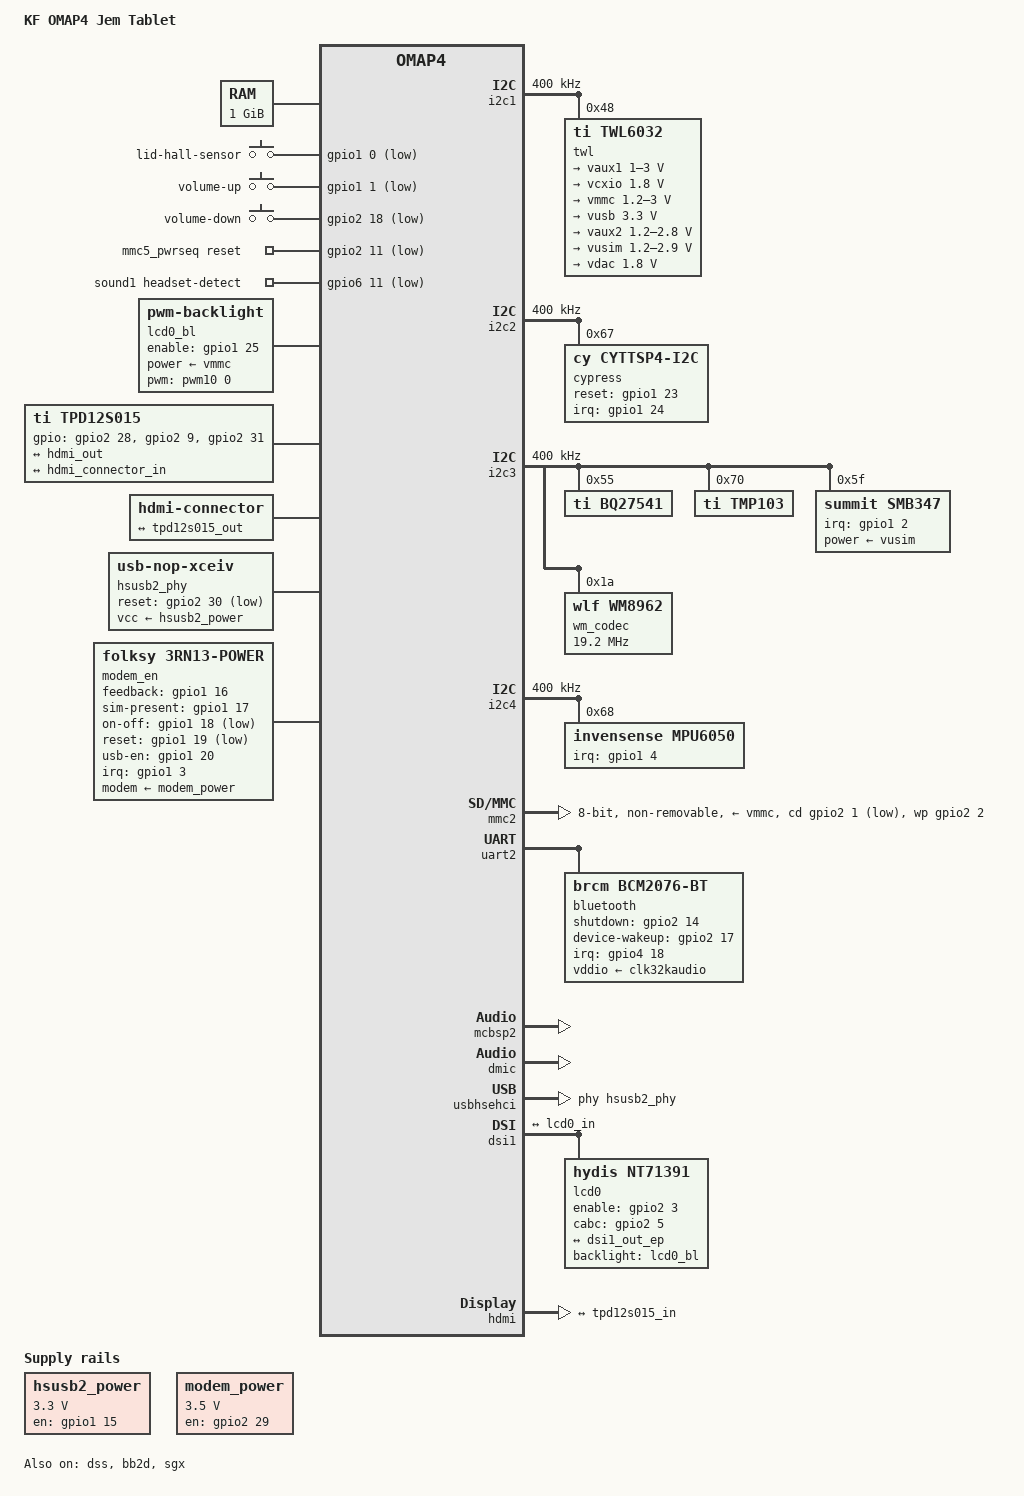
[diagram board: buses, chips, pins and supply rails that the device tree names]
/*
 * Author: Mykola Dolhyi <0xb000@gmail.com>
 *
 * This program is free software; you can redistribute it and/or modify
 * it under the terms of the GNU General Public License version 2 as
 * published by the Free Software Foundation.
 */
/dts-v1/;

#include <dt-bindings/input/input.h>
#include <dt-bindings/input/gpio-keys.h>
#include "omap4470.dtsi"
#include "elpida_ecb240abacn.dtsi"

/ {
	model = "KF OMAP4 Jem Tablet";
	compatible = "amazon,jem", "ti,omap4460", "ti,omap4";

	memory@80000000 {
		device_type = "memory";
		reg = <0x80000000 0x40000000>; /* 1 GB */
	};

	reserved-memory {
		#address-cells = <1>;
		#size-cells = <1>;
		ranges;

		dsp_cma_pool: dsp_cma@98000000 {
			compatible = "shared-dma-pool";
			reg = <0x98000000 0x800000>;
			reusable;
			status = "okay";
		};

		ipu_cma_pool: ipu_cma@98800000 {
			compatible = "shared-dma-pool";
			reg = <0x98800000 0x7000000>;
			reusable;
			status = "okay";
		};
	};

	gpio_keys {
		compatible = "gpio-keys";

		pinctrl-names = "default";
		pinctrl-0 = <
				&lid_key_pins
				&vol_up_key_pins
				&vol_down_key_pins
		>;

		case_lid {
			label = "lid-hall-sensor";
			linux,can-disable;
			linux,input-type = <EV_SW>;
			linux,code = <SW_LID>;
			debounce-interval = <10>;
			gpios = <&gpio1 0 GPIO_ACTIVE_LOW>;
			wakeup-source;
			wakeup-event-action = <EV_ACT_DEASSERTED>;
		};

		volume_up {
			label = "volume-up";
			linux,can-disable;
			linux,code = <KEY_VOLUMEUP>;
			gpios = <&gpio1 1 GPIO_ACTIVE_LOW>;
			wakeup-source;
		};

		volume_down {
			label = "volume-down";
			linux,can-disable;
			linux,code = <KEY_VOLUMEDOWN>;
			gpios = <&gpio2 18 GPIO_ACTIVE_LOW>;
			wakeup-source;
		};
	};

	rfkill_wifi {
		status = "disabled";
		compatible = "rfkill-gpio";
		rfkill-name = "bcm43239";
		rfkill-type = "wlan";
		shutdown-gpios = <&gpio2 11 GPIO_ACTIVE_HIGH>;	/* wlan_en */
	};

	mmc5_pwrseq: wifi_pwrseq {
		compatible = "mmc-pwrseq-simple";

		pinctrl-names = "default";
		pinctrl-0 = <&brcmfmac_vmmc_pins>;

		reset-gpios = <&gpio2 11 GPIO_ACTIVE_LOW>;
	};

	sound1 {
		status = "okay";

		compatible = "ti,jem-audio";
		model = "wm8962-audio";
		ssi-controller = <&mcbsp2>;
		audio-codec = <&wm_codec>;
		audio-routing =	"Headphone", "HPOUTL",
				"Headphone", "HPOUTR",
				"Main Speaker", "SPKOUTL",
				"Main Speaker", "SPKOUTR";

		headset-detect-gpios = <&gpio6 11 GPIO_ACTIVE_LOW>;
	};

	/* backlight PWM */
	pwm10: dmtimer-pwm@10 {
		status = "okay";
		compatible = "ti,omap-dmtimer-pwm";
		ti,timers = <&timer10>;
		ti,prescaler = <0>; /* use ti,clock-source in newer kernels */
		// ti,clock-source = <0x01>;
		#pwm-cells = <3>;
	};

	lcd0_bl: backlight {
		status = "okay";
		compatible = "pwm-backlight";
		pwms = <&pwm10 0 5000000 0>;
		brightness-levels = <0 2 4 6 8 12 16 24 32 48 64 96 128 192 255>;
		default-brightness-level = <6>;

		power-supply = <&vmmc>;
		enable-gpios = <&gpio1 25 GPIO_ACTIVE_HIGH>;
	};

	aliases {
		display0 = &lcd0;
		display1 = &hdmi0;
	};

	tpd12s015: encoder {
		compatible = "ti,tpd12s015";

		pinctrl-names = "default";
		pinctrl-0 = <&tpd12s015_pins>;

		gpios = <&gpio2 28 GPIO_ACTIVE_HIGH>,	/* 60, CT CP HPD */
			<&gpio2 9 GPIO_ACTIVE_HIGH>,	/* 41, LS OE */
			<&gpio2 31 GPIO_ACTIVE_HIGH>;	/* 63, HPD */

		ports {
			#address-cells = <1>;
			#size-cells = <0>;

			port@0 {
				reg = <0>;

				tpd12s015_in: endpoint {
					remote-endpoint = <&hdmi_out>;
				};
			};

			port@1 {
				reg = <1>;

				tpd12s015_out: endpoint {
					remote-endpoint = <&hdmi_connector_in>;
				};
			};
		};
	};

	hdmi0: connector {
		compatible = "hdmi-connector";
		label = "hdmi";

		type = "d";

		port {
			hdmi_connector_in: endpoint {
				remote-endpoint = <&tpd12s015_out>;
			};
		};
	};

	hsusb2_power: hsusb2_power_reg {
		compatible = "regulator-fixed";
		regulator-name = "hsusb2_vbus";
		regulator-min-microvolt = <3300000>;
		regulator-max-microvolt = <3300000>;
		gpio = <&gpio1 15 GPIO_ACTIVE_LOW>;	/* usb_resume gpio_15 */
		startup-delay-us = <70000>;
		enable-active-high;

		regulator-always-on;
		regulator-boot-on;
	};

	hsusb2_phy: usb-phy@2 {
		compatible = "usb-nop-xceiv";
		reset-gpios = <&gpio2 30 GPIO_ACTIVE_LOW>;   /* gpio_62 */
		#phy-cells = <0>;
		vcc-supply = <&hsusb2_power>;
		clocks = <&auxclk3_ck>;
		clock-names = "main_clk";
		clock-frequency = <19200000>;
	};


	modem_power: modem_power_reg {
		compatible = "regulator-fixed";
		regulator-name = "modem_vbat_power";
		regulator-min-microvolt = <3500000>;
		regulator-max-microvolt = <3500000>;
		gpios = <&gpio2 29 GPIO_ACTIVE_HIGH>;    /* wan_bost_en gpio_61 */
		startup-delay-us = <10000>;
		enable-active-high;
	};

	modem_en: modem {
		compatible = "folksy,3rn13-power";
		pinctrl-names = "default";
		pinctrl-0 = <&modem_pins>;

		feedback-gpios		= <&gpio1 16 GPIO_ACTIVE_HIGH>;
		sim-present-gpios	= <&gpio1 17 GPIO_ACTIVE_HIGH>;
		on-off-gpios		= <&gpio1 18 GPIO_ACTIVE_LOW>;
		reset-gpios		= <&gpio1 19 GPIO_ACTIVE_LOW>;
		usb-en-gpios		= <&gpio1 20 GPIO_ACTIVE_HIGH>;

		// interrupts...
		// host-wake-gpio = <&gpio1 3 GPIO_ACTIVE_HIGH>;
		interrupts = <3 IRQ_TYPE_EDGE_RISING>;	/* gpio_3 trigger_rising */
		interrupt-parent = <&gpio1>;

		modem-supply = <&modem_power>;
		/* VBUS supply should probably be controlled through the USB PHY driver for the modem port */
		usb-port = <&hsusb2_phy>;       /* USB phy where we can check the modem status */
		// vbus-supply = <&modem_vbus_hdmi_power>;

		can-turnoff;
	};
};

&omap4_pmx_wkup {
	pinctrl-names = "default";
	pinctrl-0 = <
		&fref_clk_pins
	>;

	twl6030_wkup_pins: pinmux_twl6030_wkup_pins {
		pinctrl-single,pins = <
			OMAP4_IOPAD(0x56, PIN_OUTPUT_PULLUP | MUX_MODE2)	/* fref_clk3_req.sys_drm_msecure */
		>;
	};

	lid_key_pins: pinmux_bu52061_pins {
		pinctrl-single,pins = <
			OMAP4_IOPAD(0x40, WAKEUP_EN | PIN_INPUT | MUX_MODE3)	/* gpmc_wk0.gpio_wk0 */
		>;
	};

	vol_up_key_pins: pinmux_vol_up_pins {
		pinctrl-single,pins = <
			OMAP4_IOPAD(0x42, WAKEUP_EN | PIN_INPUT_PULLUP | MUX_MODE3)	/* gpmc_wk1.gpio_wk1 */
		>;
	};

	mpu6050_pins: pinmux_mpu6050_pins {
		pinctrl-single,pins = <
			OMAP4_IOPAD(0x48, PIN_INPUT | MUX_MODE3)	/* gpio_wk4.gpio_wk4 */
		>;
	};

	fref_clk_pins: pinmux_fref_clk_pins {
		pinctrl-single,pins = <
			OMAP4_IOPAD(0x54, PIN_OUTPUT | MUX_MODE0)	/* fref_clk0_out.fref_clk0_out */ // Unknown
			OMAP4_IOPAD(0x58, PIN_OUTPUT | MUX_MODE0)	/* fref_clk3_out.fref_clk3_out */ // USB PHY clock
		>;
	};
};

&omap4_pmx_core {
	pinctrl-names = "default";
	pinctrl-0 = <
		&dmic_pins
		&dss_hdmi_pins
		/* &tpd12s015_pins */
		&backlight_pins
		&nt71391_pins
	>;

	vol_down_key_pins: pinmux_vol_down_pins {
		pinctrl-single,pins = <
			OMAP4_IOPAD(0x74, WAKEUP_EN | PIN_INPUT_PULLUP | MUX_MODE3)	/* gpmc_ncs0.gpio_50 */
		>;
	};

	backlight_pins: pinmux_backlight_pins {
		pinctrl-single,pins = <
			OMAP4_IOPAD(0x1d0, PIN_OUTPUT | MUX_MODE1)	/* dpm_emu18.dmtimer10_pwm_evt */
			OMAP4_IOPAD(0x1ca, PIN_OUTPUT | MUX_MODE3)	/* dpm_emu14.gpio_25 */
		>;
	};

	nt71391_pins: pinmux_nt71391_pins {
		pinctrl-single,pins = <
			OMAP4_IOPAD(0x54, PIN_OUTPUT | MUX_MODE3)	/* gpmc_ad11.gpio_35 */
			OMAP4_IOPAD(0x5a, PIN_OUTPUT | MUX_MODE3)	/* gpmc_ad13.gpio_37 */
		>;
	};

	smb347_pins: pinmux_smb347_pins {
		pinctrl-single,pins = <
			OMAP4_IOPAD(0x190, PIN_INPUT | MUX_MODE3)	/* kpd_row1.gpio_2 */
		>;
	};

	cyttsp4_pins: pinmux_cyttsp4_pins {
		pinctrl-single,pins = <
			OMAP4_IOPAD(0x1c6, PIN_OUTPUT | MUX_MODE3)	/* dpm_emu12.gpio_23 */
			OMAP4_IOPAD(0x1c8, PIN_INPUT_PULLUP | MUX_MODE3)/* dpm_emu13.gpio_24 */
		>;
	};

	uart2_pins: pinmux_uart2_pins {
		pinctrl-single,pins = <
			OMAP4_IOPAD(0x118, PIN_INPUT_PULLUP | MUX_MODE0)	/* uart2_cts.uart2_cts */
			OMAP4_IOPAD(0x11a, PIN_OUTPUT | MUX_MODE0)		/* uart2_rts.uart2_rts */
			OMAP4_IOPAD(0x11c, PIN_INPUT_PULLUP | MUX_MODE0)	/* uart2_rx.uart2_rx */
			OMAP4_IOPAD(0x11e, PIN_OUTPUT | MUX_MODE0)		/* uart2_tx.uart2_tx */
		>;
	};

	uart3_pins: pinmux_uart3_pins {
		pinctrl-single,pins = <
			OMAP4_IOPAD(0x140, PIN_INPUT_PULLUP | MUX_MODE0)	/* uart3_cts_rctx.uart3_cts_rctx */
			OMAP4_IOPAD(0x142, PIN_OUTPUT | MUX_MODE0)		/* uart3_rts_sd.uart3_rts_sd */
			OMAP4_IOPAD(0x144, PIN_INPUT | MUX_MODE0)		/* uart3_rx_irrx.uart3_rx_irrx */
			OMAP4_IOPAD(0x146, PIN_OUTPUT | MUX_MODE0)		/* uart3_tx_irtx.uart3_tx_irtx */
		>;
	};

	uart4_pins: pinmux_uart4_pins {
		pinctrl-single,pins = <
			OMAP4_IOPAD(0x15c, PIN_INPUT | MUX_MODE0)		/* uart4_rx.uart4_rx */
			OMAP4_IOPAD(0x15e, PIN_OUTPUT | MUX_MODE0)		/* uart4_tx.uart4_tx */
		>;
	};

	twl6030_pins: pinmux_twl6030_pins {
		pinctrl-single,pins = <
			OMAP4_IOPAD(0x19e, WAKEUP_EN | PIN_INPUT_PULLUP | MUX_MODE0)	/* sys_nirq1.sys_nirq1 */
		>;
	};

	dmic_pins: pinmux_dmic_pins {
		pinctrl-single,pins = <
			0xd0 (PIN_OUTPUT | MUX_MODE0)		/* abe_dmic_clk1.abe_dmic_clk1 */
			0xd2 (PIN_INPUT | MUX_MODE0)		/* abe_dmic_din1.abe_dmic_din1 */
			0xd4 (PIN_INPUT | MUX_MODE0)		/* abe_dmic_din2.abe_dmic_din2 */
			0xd6 (PIN_INPUT | MUX_MODE0)		/* abe_dmic_din3.abe_dmic_din3 */
		>;
	};

	mcbsp2_pins: pinmux_mcbsp2_pins {
		pinctrl-single,pins = <
			OMAP4_IOPAD(0xf6, PIN_INPUT | MUX_MODE0)	/* abe_mcbsp2_clkx.abe_mcbsp2_clkx */
			OMAP4_IOPAD(0xf8, PIN_INPUT | MUX_MODE0)	/* abe_mcbsp2_dr.abe_mcbsp2_dr */
			OMAP4_IOPAD(0xfa, PIN_OUTPUT | MUX_MODE0)	/* abe_mcbsp2_dx.abe_mcbsp2_dx */
			OMAP4_IOPAD(0xfc, PIN_INPUT | MUX_MODE0)	/* abe_mcbsp2_fsx.abe_mcbsp2_fsx */
		>;
	};

	mmc2_pins_default: pinmux_mmc2_pins_default {
		pinctrl-single,pins = <
			OMAP4_IOPAD(0x82, PIN_INPUT_PULLUP | MUX_MODE1)	/* gpmc_noe.sdmmc2_clk */
			OMAP4_IOPAD(0x84, PIN_INPUT_PULLUP | MUX_MODE1)	/* gpmc_nwe.sdmmc2_cmd */
			OMAP4_IOPAD(0x40, PIN_INPUT_PULLUP | MUX_MODE1)	/* gpmc_ad0.sdmmc2_dat0 */
			OMAP4_IOPAD(0x42, PIN_INPUT_PULLUP | MUX_MODE1)	/* gpmc_ad1.sdmmc2_dat1 */
			OMAP4_IOPAD(0x44, PIN_INPUT_PULLUP | MUX_MODE1)	/* gpmc_ad2.sdmmc2_dat2 */
			OMAP4_IOPAD(0x46, PIN_INPUT_PULLUP | MUX_MODE1)	/* gpmc_ad3.sdmmc2_dat3 */
			OMAP4_IOPAD(0x48, PIN_INPUT_PULLUP | MUX_MODE1)	/* gpmc_ad4.sdmmc2_dat4 */
			OMAP4_IOPAD(0x4a, PIN_INPUT_PULLUP | MUX_MODE1)	/* gpmc_ad5.sdmmc2_dat5 */
			OMAP4_IOPAD(0x4c, PIN_INPUT_PULLUP | MUX_MODE1)	/* gpmc_ad6.sdmmc2_dat6 */
			OMAP4_IOPAD(0x4e, PIN_INPUT_PULLUP | MUX_MODE1)	/* gpmc_ad7.sdmmc2_dat7 */
			OMAP4_IOPAD(0x4c, PIN_INPUT_PULLUP | MUX_MODE1)	/* gpmc_ad6.sdmmc2_dat6 */
			OMAP4_IOPAD(0x4e, PIN_INPUT_PULLUP | MUX_MODE1)	/* gpmc_ad7.sdmmc2_dat7 */
		>;
	};

	dss_hdmi_pins: pinmux_dss_hdmi_pins {
		pinctrl-single,pins = <
			OMAP4_IOPAD(0x9a, PIN_INPUT | MUX_MODE0)	/* hdmi_cec.hdmi_cec */
			OMAP4_IOPAD(0x9c, PIN_INPUT_PULLUP | MUX_MODE0)	/* hdmi_scl.hdmi_scl */
			OMAP4_IOPAD(0x9e, PIN_INPUT_PULLUP | MUX_MODE0)	/* hdmi_sda.hdmi_sda */
			OMAP4_IOPAD(0x8e, PIN_INPUT_PULLDOWN | MUX_MODE3) /* gpmc_wait2.gpio_100 WTF??? */
		>;
	};

	tpd12s015_pins: pinmux_tpd12s015_pins {
		/* LS_OE, CT_CP_HPD - high to enable dcdc */
		pinctrl-single,pins = <
			OMAP4_IOPAD(0x62, PIN_OUTPUT | MUX_MODE3)		/* gpmc_a17.gpio_41 */
			OMAP4_IOPAD(0x88, PIN_OUTPUT | MUX_MODE3)		/* gpmc_nbe1.gpio_60 */
			OMAP4_IOPAD(0x98, PIN_INPUT_PULLDOWN | MUX_MODE3)	/* hdmi_hpd.gpio_63 */
		>;
	};

	i2c1_pins: pinmux_i2c1_pins {
		pinctrl-single,pins = <
			OMAP4_IOPAD(0x122, PIN_INPUT_PULLUP | MUX_MODE0)	/* i2c1_scl */
			OMAP4_IOPAD(0x124, PIN_INPUT_PULLUP | MUX_MODE0)	/* i2c1_sda */
		>;
	};

	i2c2_pins: pinmux_i2c2_pins {
		pinctrl-single,pins = <
			OMAP4_IOPAD(0x126, PIN_INPUT_PULLUP | MUX_MODE0)	/* i2c2_scl */
			OMAP4_IOPAD(0x128, PIN_INPUT_PULLUP | MUX_MODE0)	/* i2c2_sda */
		>;
	};

	i2c3_pins: pinmux_i2c3_pins {
		pinctrl-single,pins = <
			OMAP4_IOPAD(0x12a, PIN_INPUT_PULLUP | MUX_MODE0)	/* i2c3_scl */
			OMAP4_IOPAD(0x12c, PIN_INPUT_PULLUP | MUX_MODE0)	/* i2c3_sda */
		>;
	};

	i2c4_pins: pinmux_i2c4_pins {
		pinctrl-single,pins = <
			OMAP4_IOPAD(0x12e, PIN_INPUT_PULLUP | MUX_MODE0)	/* i2c4_scl */
			OMAP4_IOPAD(0x130, PIN_INPUT_PULLUP | MUX_MODE0)	/* i2c4_sda */
		>;
	};

	bt_pins: pinmux_bt_pins {
		/* RST_N, EN(REG), WAKE, HOST_WAKE */
		pinctrl-single,pins = <
			OMAP4_IOPAD(0x7a, PIN_OUTPUT_PULLUP | MUX_MODE3)	/* gpmc_ncs3.gpio_53 */
			OMAP4_IOPAD(0x6c, PIN_OUTPUT_PULLDOWN | MUX_MODE3)	/* gpmc_a22.gpio_46 */
			OMAP4_IOPAD(0x72, PIN_OUTPUT_PULLDOWN | MUX_MODE3)	/* gpmc_a25.gpio_49 */
			OMAP4_IOPAD(0xbe, PIN_INPUT | MUX_MODE3)		/* cam_strobe.gpio_82 */
		>;
	};

	/* GPIO output for WLAN_EN */
	brcmfmac_vmmc_pins: pinmux_brcmfmac_vmmc_pins {
		pinctrl-single,pins = <
			OMAP4_IOPAD(0x66, PIN_OUTPUT | MUX_MODE3)		/* gpmc_a19.gpio_43 */
		>;
	};

	/* brcm GPIO inputs and SDIO pins */
	brcmfmac_pins: pinmux_brcmfmac_pins {
		pinctrl-single,pins = <
			OMAP4_IOPAD(0x148, PIN_INPUT_PULLUP | MUX_MODE0)	/* sdmmc5_clk.sdmmc5_clk */
			OMAP4_IOPAD(0x14a, PIN_INPUT_PULLUP | MUX_MODE0)	/* sdmmc5_cmd.sdmmc5_cmd */
			OMAP4_IOPAD(0x14c, PIN_INPUT_PULLUP | MUX_MODE0)	/* sdmmc5_dat0.sdmmc5_dat0 */
			OMAP4_IOPAD(0x14e, PIN_INPUT_PULLUP | MUX_MODE0)	/* sdmmc5_dat1.sdmmc5_dat1 */
			OMAP4_IOPAD(0x150, PIN_INPUT_PULLUP | MUX_MODE0)	/* sdmmc5_dat2.sdmmc5_dat2 */
			OMAP4_IOPAD(0x152, PIN_INPUT_PULLUP | MUX_MODE0)	/* sdmmc5_dat3.sdmmc5_dat3 */
		>;
	};

	usb_otg_hs_pins: pinmux_usb_otg_hs_pins {
		pinctrl-single,pins = <
			OMAP4_IOPAD(0x194, PIN_OUTPUT_PULLDOWN | MUX_MODE0)	/* usba0_otg_ce */
			OMAP4_IOPAD(0x196, PIN_INPUT | MUX_MODE0)		/* usba0_otg_dp */
			OMAP4_IOPAD(0x198, PIN_INPUT | MUX_MODE0)		/* usba0_otg_dm */
		>;
	};

	wm8962_pins: pinmux_wm8962_pins {
		/* IRQ, HP_DETECT, MCLK */
		pinctrl-single,pins = <
			OMAP4_IOPAD(0x1cc, PIN_INPUT_PULLDOWN | MUX_MODE3)	/* dpm_emu15.gpio_26 */
			OMAP4_IOPAD(0x17c, PIN_INPUT_PULLUP | MUX_MODE3)	/* kpd_col4.gpio_171 */
			// OMAP4_IOPAD(0x1a0, PIN_INPUT_PULLUP | MUX_MODE0)	/* sys_nirq2.sys_nirq2 probably only used for twl6040... to wake cpu up */

			/* codec mclk - auxclk0_ck out */
			OMAP4_IOPAD(0x19a, PIN_OUTPUT | MUX_MODE0)		/* fref_clk1_out.fref_clk1_out */
		>;
	};

	modem_pins: pinmux_modem_pins {
		pinctrl-single,pins = <
			OMAP4_IOPAD(0x192, PIN_INPUT_PULLDOWN | MUX_MODE3)	/* kpd_row2.gpio_3 host_wake */
			OMAP4_IOPAD(0x1b6, PIN_OUTPUT_PULLDOWN | MUX_MODE3)	/* dpm_emu4.gpio_15 usb_resume/host_hmi phy? */
			OMAP4_IOPAD(0x1b8, PIN_INPUT_PULLDOWN | MUX_MODE3)	/* dpm_emu5.gpio_16 fw_ready */
			OMAP4_IOPAD(0x1ba, PIN_INPUT | MUX_MODE3)		/* dpm_emu6.gpio_17 sim_present */
			OMAP4_IOPAD(0x1bc, PIN_OUTPUT | MUX_MODE3)		/* dpm_emu7.gpio_18 wan_on_off */
			OMAP4_IOPAD(0x1be, PIN_OUTPUT_PULLUP | MUX_MODE3)	/* dpm_emu8.gpio_19 resetin_n */
			OMAP4_IOPAD(0x1c0, PIN_OUTPUT_PULLDOWN | MUX_MODE3)	/* dpm_emu9.gpio_20 usb_enable */

			OMAP4_IOPAD(0x8a, PIN_OUTPUT_PULLDOWN | MUX_MODE3)	/* gpmc_wait0.gpio_61 boost_en */
			OMAP4_IOPAD(0x8c, PIN_OUTPUT_PULLUP | MUX_MODE3)	/* gpmc_wait1.gpio_62 usb_phy_nreset */
		>;
	};
};

&i2c1 {
	// We need i2c1 muxed early on the boot process for pmic
	// bootloader already done it for us
	// pinctrl-names = "default";
	// pinctrl-0 = <&i2c1_pins>;

	clock-frequency = <400000>;

	twl: twl@48 {
		reg = <0x48>;

		pinctrl-names = "default";
		pinctrl-0 = <
			&twl6030_pins
			&twl6030_wkup_pins
		>;

		/* SPI = 0, IRQ# = 7, 4 = active high level-sensitive */
		interrupts = <GIC_SPI 7 IRQ_TYPE_LEVEL_HIGH>; /* IRQ_SYS_1N cascaded to gic */
		interrupt-parent = <&gic>;
	};
};

#include "twl6030.dtsi"

&twl {
	compatible = "ti,twl6032";

	twl_pwrbutton: pwrbutton {
		compatible = "ti,twl6030-pwrbutton";
		interrupts = <0>;
	};

	/* wifi */
	vaux1: regulator-vaux1 {
		compatible = "ti,twl6032-ldo2";
		regulator-min-microvolt = <1000000>;
		regulator-max-microvolt = <3000000>;
		// regulator-always-on;
	};

	/* DSS, DSI what? panel? controller? */
	vcxio: regulator-vcxio {
		compatible = "ti,twl6032-ldo6";
		regulator-min-microvolt = <1800000>;
		regulator-max-microvolt = <1800000>;
	};

	/* mmc and backlight? and wifi?*/
	vmmc: regulator-vmmc {
		compatible = "ti,twl6032-ldo5";
		regulator-min-microvolt = <1200000>;
		regulator-max-microvolt = <3000000>;
	};

	/* ???? Supposed to be for OTG, seems to be not used */
	vusb: regulator-vusb {
		compatible = "ti,twl6032-ldousb";
		regulator-min-microvolt = <3300000>;
		regulator-max-microvolt = <3300000>;
		// regulator-always-on;

		status = "disabled";
	};

	/* presumably wm8962 */
	vaux2: regulator-vaux2 {
		compatible = "ti,twl6032-ldo4";
		regulator-min-microvolt = <1200000>;
		regulator-max-microvolt = <2800000>;
		// regulator-always-on;
	};

	/* smb347 */
	vusim: regulator-vusim {
		compatible = "ti,twl6032-ldo7";
		regulator-min-microvolt = <1200000>;
		regulator-max-microvolt = <2900000>;
	};

	/* ???? */
	clk32kg: regulator-clk32kg {
		compatible = "ti,twl6030-clk32kg";
		regulator-always-on;
	};

	/* Bluetooth clock */
	clk32kaudio: regulator-clk32kaudio {
		compatible = "ti,twl6030-clk32kaudio";
	};

	/* HDMI vref */
	vdac: regulator-vdac {
		compatible = "ti,twl6032-ldoln";
		regulator-min-microvolt = <1800000>;
		regulator-max-microvolt = <1800000>;
	};

	/* ???? */
	vana: regulator-vana {
		compatible = "ti,twl6030-vana";
		regulator-always-on;
	};

	/*
	vaux1 - ldo2 - Wi-Fi, or not....
	vaux2 - ldo4 - wm8962, definitely not, not enabled on stock
	vaux3 - ldo3 - Cam2!
	 vmmc - ldo5 - nope, disabled
	  vpp - ldo1 ??? disabled
	 vana - ???
	vcxio - ldo6 - dss,dsi
	 vdac - ldoln - hdmi-vref!
	 vusb - ldousb ???
	vusim - ldo7 - smb347
	clk32kg - clk32kg ??? not used?
	*/
};

/* &twl {
	compatible = "ti,twl6032";
	interrupt-controller;
	#interrupt-cells = <1>;

	rtc {
		compatible = "ti,twl4030-rtc";
		interrupts = <11>;
	};

	vaux1: regulator-vaux1 {
		compatible = "ti,twl6032-ldo2";
		regulator-min-microvolt = <1000000>;
		regulator-max-microvolt = <3000000>;
		regulator-always-on;
	};

	vaux3: regulator-vaux3 {
		compatible = "ti,twl6032-ldo3";
		regulator-min-microvolt = <1000000>;
		regulator-max-microvolt = <3000000>;
	};

	vmmc: regulator-vmmc {
		compatible = "ti,twl6032-ldo5";
		regulator-min-microvolt = <1200000>;
		regulator-max-microvolt = <3000000>;
	};

	vpp: regulator-vpp {
		compatible = "ti,twl6032-ldo1";
		regulator-min-microvolt = <1800000>;
		regulator-max-microvolt = <2500000>;
	};

	vusim: regulator-vusim {
		compatible = "ti,twl6032-ldo7";
		regulator-min-microvolt = <1200000>;
		regulator-max-microvolt = <2900000>;
	};

	vdd_mpu: regulator-vdd1 {
		compatible = "ti,twl6030-vdd1";
		regulator-min-microvolt = <500000>;
		regulator-max-microvolt = <1500000>;
	};

	vdd_iva: regulator-vdd2 {
		compatible = "ti,twl6030-vdd2";
		regulator-min-microvolt = <500000>;
		regulator-max-microvolt = <1500000>;
	};

	vdd_core: regulator-vdd3 {
		compatible = "ti,twl6030-vdd3";
		regulator-min-microvolt = <500000>;
		regulator-max-microvolt = <1500000>;
	};

	vdac: regulator-vdac {
		compatible = "ti,twl6032-vdoln";
	};

	vana: regulator-vana {
		compatible = "ti,twl6030-vana";
	};

	ldo6: regulator-ldo6 {
		compatible = "ti,twl6032-ldo6";
		regulator-min-microvolt = <1800000>;
		regulator-max-microvolt = <1800000>;
	};

	vusb: regulator-vusb {
		compatible = "ti,twl6032-ldousb";
	};

	v1v8: regulator-v1v8 {
		compatible = "ti,twl6030-v1v8";
		regulator-always-on;
	};

	v2v1: regulator-v2v1 {
		compatible = "ti,twl6030-v2v1";
		regulator-always-on;
	};

	twl_usb_comparator: usb-comparator {
		compatible = "ti,twl6030-usb";
		interrupts = <4>, <10>;
	};

	gpadc {
		compatible = "ti,twl6030-gpadc";
		interrupts = <3>;
		#io-channel-cells = <1>;
	};
}; */

&i2c2 {
	pinctrl-names = "default";
	pinctrl-0 = <&i2c2_pins>;
	clock-frequency = <400000>;

	cypress@67 {
		compatible = "cy,cyttsp4-i2c";
		reg = <0x67>;

		pinctrl-names = "default";
		pinctrl-0 = <&cyttsp4_pins>;

		interrupt-parent = <&gpio1>;
		interrupts = <24 IRQ_TYPE_LEVEL_LOW>;

		irq-delay = <0>;

		tch-address = <0x67>;
		ldr-address = <0x69>;

		reset-gpios = <&gpio1 23 GPIO_ACTIVE_HIGH>;
		irq-gpios = <&gpio1 24 GPIO_ACTIVE_HIGH>;

		input-name = "cyttsp4_i2c_adapter";
		// touchscreen-size-x = <800>;
		// touchscreen-size-y = <480>;
		// touchscreen-fuzz-x = <4>;
		// touchscreen-fuzz-y = <7>;
		// bootloader-key = /bits/ 8 <0x01 0x02 0x03 0x04 0x05 0x06 0x07 0x08>;
		// active-distance = <8>;
		// active-interval-ms = <0>;
		// lowpower-interval-ms = <200>;
		// touch-timeout-ms = <100>;
	};
};

&i2c3 {
	pinctrl-names = "default";
	pinctrl-0 = <&i2c3_pins>;
	clock-frequency = <400000>;

	bq27541@55 {
		compatible = "ti,bq27541";
		reg = <0x55>;
	};

	/*
	 * Temperature Sensor
	 */
	tmp103@70 {
		compatible = "ti,tmp103";
		reg = <0x70>;
	};

	smb347@5f {
		status = "okay";
		compatible = "summit,smb347";
		reg = <0x5f>;

		pinctrl-names = "default";
		pinctrl-0 = <&smb347_pins>;

		interrupts = <2 IRQ_TYPE_EDGE_FALLING>;	/* gpio_2 trigger_rising */
		interrupt-parent = <&gpio1>;

		power-supply = <&vusim>;

		max-chg-curr = <1800000>;
		pre-chg-curr = <250000>;
		term-curr = <250000>;
		mains-curr-limit = <2000000>;
		usb-curr-limit = <450000>;
		chip-temp-thershold = <100>;

		enable-usb-charging;
		enable-otg-charging = <4>; /* CONTROL_SW_PIN */
		enable-chg-ctrl = <0>;
	};

	wm_codec: wm8962@1a {
		#sound-dai-cells = <0>;
		compatible = "wlf,wm8962";
		reg = <0x1a>;

		pinctrl-names = "default";
		pinctrl-0 = <&wm8962_pins>;

		/* IRQ is not working properly for some reason */
		// interrupts = <26 IRQ_TYPE_LEVEL_HIGH>;
		// interrupt-parent = <&gpio1>;

		clocks = <&auxclk0_ck>;
		clock-names = "main_clk";
		clock-frequency = <19200000>;

		gpio-cfg = <
			0x0000 /* 0:Default */
			0x0003 /* 1:FN_IRQ */
			0x0000 /* 2:Default */
			0x0000 /* 3:Default */
			0x8014 /* 4:FN_DMICCDAT */
			0x0013 /* 5:FN_DMICCLK */
		>;

		mic-cfg = <1>;
	};
};

&i2c4 {
	pinctrl-names = "default";
	pinctrl-0 = <&i2c4_pins>;
	clock-frequency = <400000>;

	mpu6050@68 {
		compatible = "invensense,mpu6050";
		reg = <0x68>;

		pinctrl-names = "default";
		pinctrl-0 = <&mpu6050_pins>;

		interrupt-parent = <&gpio1>;
		interrupts = <4 IRQ_TYPE_EDGE_RISING>;

		/* x0, y0, z0,
		 * x1, y1, z1,
		 * x2, y2, z2 */
		mount-matrix =	"0",	"-1",	"0",
				"1",	"0",	"0",
				"0",	"0",	"1";
	};
};

&mmc1 {
	status = "disabled";
};

&mmc2 {
	status = "okay";

	pinctrl-names = "default";
	pinctrl-0 = <&mmc2_pins_default>;

	vmmc-supply = <&vmmc>;
	bus-width = <8>;
	non-removable;
	ti,non-removable;

	cd-gpios = <&gpio2 1 GPIO_ACTIVE_LOW>;
	wp-gpios = <&gpio2 2 GPIO_ACTIVE_HIGH>;
};

&mmc3 {
	status = "disabled";
};

&mmc4 {
	status = "disabled";
};

&mmc5 {
	status = "disabled";

	pinctrl-names = "default";
	pinctrl-0 = <&brcmfmac_pins>;

	vmmc-supply = <&vaux1>;
	mmc-pwrseq = <&mmc5_pwrseq>;

	mmc-ddr-1_8v;
	mmc-ddr-1_2v;

	keep-power-in-suspend;

	bus-width = <4>;
	non-removable;
	ti,non-removable;

	#address-cells = <1>;
	#size-cells = <0>;
	brcmf: bcrmf@1 {
		reg = <1>;
		compatible = "brcm,bcm4329-fmac";
		interrupt-parent = <&gpio2>;
		interrupts = <12 IRQ_TYPE_LEVEL_HIGH>;
		interrupt-names = "host-wake";
		brcm,drive-strength = <6>;
	};
};

&emif1 {
	cs1-used;
	device-handle = <&elpida_ECB240ABACN>;
};

&emif2 {
	cs1-used;
	device-handle = <&elpida_ECB240ABACN>;
};

&uart2 {
	pinctrl-names = "default";
	pinctrl-0 = <&uart2_pins>;
	interrupts-extended = <&wakeupgen GIC_SPI 73 IRQ_TYPE_LEVEL_HIGH
				&omap4_pmx_core OMAP4_UART2_RX>;

	bluetooth {
		status = "okay";
		compatible = "brcm,bcm2076-bt";
		pinctrl-names = "default";
		pinctrl-0 = <&bt_pins>;

		vddio-supply = <&clk32kaudio>;

		interrupt-parent = <&gpio4>;
		interrupts = <18 IRQ_TYPE_LEVEL_HIGH>;

		max-speed = <3692000>;

		shutdown-gpios = <&gpio2 14 GPIO_ACTIVE_HIGH>;
		device-wakeup-gpios = <&gpio2 17 GPIO_ACTIVE_HIGH>;
	};
};

&uart3 {
	pinctrl-names = "default";
	pinctrl-0 = <&uart3_pins>;
	interrupts-extended = <&wakeupgen GIC_SPI 74 IRQ_TYPE_LEVEL_HIGH
				&omap4_pmx_core OMAP4_UART3_RX>;
};

&uart4 {
	pinctrl-names = "default";
	pinctrl-0 = <&uart4_pins>;
	interrupts-extended = <&wakeupgen GIC_SPI 70 IRQ_TYPE_LEVEL_HIGH
				&omap4_pmx_core OMAP4_UART4_RX>;
};

&mcbsp2 {
	#sound-dai-cells = <0>;
	pinctrl-names = "default";
	pinctrl-0 = <&mcbsp2_pins>;
	status = "okay";
};

&mcbsp3 {
	// To be used for Bluetooth
	status = "disabled";
};

&dmic {
	pinctrl-names = "default";
	pinctrl-0 = <&dmic_pins>;
	status = "okay";
};

&usbhsehci {
	phys = <&hsusb2_phy>;
};

&usbhshost {
	port2-mode = "ehci-phy";
};

&twl_usb_comparator {
	usb-supply = <&vusb>;
};

&usb_otg_hs {
/*	pinctrl-names = "default";
	pinctrl-0 = <&usb_otg_hs_pins>;*/

	interface-type = <1>;
	mode = <3>;
	power = <50>;
};

&dss {
	status = "ok";
};

&dsi1 {
	status = "ok";
	vdd-supply = <&vcxio>;

	port {
		dsi1_out_ep: endpoint {
			remote-endpoint = <&lcd0_in>;
			lanes = <
				4 5
				0 1
				2 3
				6 7
				8 9
			>;
		};
	};

	lcd0: display {
		compatible = "hydis,nt71391";
		label = "lcd0";

		enable-gpios = <&gpio2 3 GPIO_ACTIVE_HIGH>;
		cabc-gpios = <&gpio2 5 GPIO_ACTIVE_HIGH>;

		backlight = <&lcd0_bl>;

		port {
			lcd0_in: endpoint {
				remote-endpoint = <&dsi1_out_ep>;
			};
		};
	};
};

&hdmi {
	status = "ok";
	vdda-supply = <&vdac>;

	port {
		hdmi_out: endpoint {
			remote-endpoint = <&tpd12s015_in>;
		};
	};
};

&bb2d {
	status = "okay";
};

&sgx {
	status = "okay";
};

/* &dsp {
	status = "okay";
	memory-region = <&dsp_cma_pool>;
	timers = <&timer5>;
	watchdog-timers = <&timer6>;
};

&ipu {
	status = "okay";
	memory-region = <&ipu_cma_pool>;
	timers = <&timer3>;
	watchdog-timers = <&timer9>, <&timer11>;
}; */
